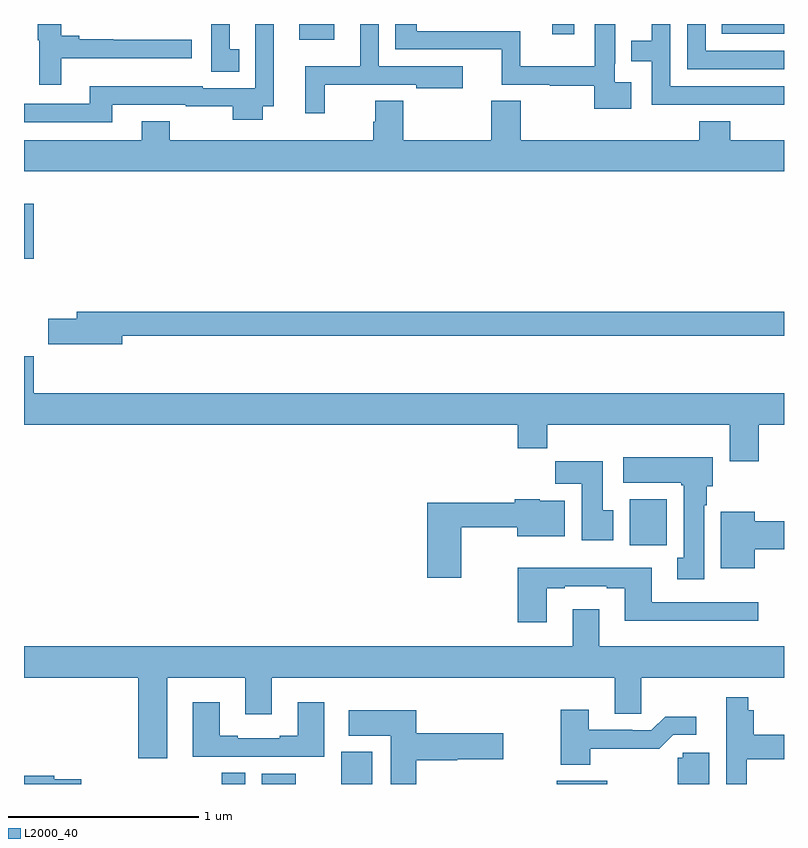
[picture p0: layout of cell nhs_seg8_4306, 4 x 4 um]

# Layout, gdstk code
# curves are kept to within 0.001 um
import gdstk
lib = gdstk.Library(unit=1e-6, precision=1e-09)
def R(c, l, rs):  # rectangles x0, y0, x1, y1
    for r in rs: c.add(gdstk.rectangle(r[:2], r[2:], *l))
def P(c, l, *ps):  # polygons
    for p in ps: c.add(gdstk.Polygon(p, *l))
L2000_40 = (2000, 40)

nhs_seg8_4306 = lib.new_cell('nhs_seg8_4306')
R(nhs_seg8_4306, L2000_40, [(374.042,1155.9,374.164,1155.959), (374.252,1155.9,374.431,1155.955), (374.669,1155.9,374.833,1156.069), (375.805,1155.9,376.07,1155.916), (376.187,1157.156,376.384,1157.398), (373,1158.665,373.052,1158.955), (374.448,1159.817,374.632,1159.9), (375.78,1159.845,375.895,1159.9), (376.672,1159.85,377,1159.9)])
P(nhs_seg8_4306, L2000_40, [(373.465,1159.476),(373.851,1159.476),(373.851,1159.466),(374.098,1159.466),(374.098,1159.397),(374.257,1159.397),(374.257,1159.467),(374.314,1159.467),(374.314,1159.9),(374.216,1159.9),(374.216,1159.846),(374.217,1159.846),(374.217,1159.563),(373.941,1159.563),(373.941,1159.573),(373.346,1159.573),(373.346,1159.479),(373,1159.479),(373,1159.383),(373.465,1159.383)],
  [(376.195,1159.594),(376.11,1159.594),(376.11,1159.69),(376.111,1159.69),(376.111,1159.9),(376.004,1159.9),(376.004,1159.678),(375.613,1159.678),(375.613,1159.863),(375.066,1159.863),(375.066,1159.9),(374.953,1159.9),(374.953,1159.767),(375.515,1159.767),(375.515,1159.581),(375.768,1159.581),(375.768,1159.576),(376.002,1159.576),(376.002,1159.454),(376.195,1159.454)],
  [(377,1159.758),(376.587,1159.758),(376.587,1159.9),(376.491,1159.9),(376.491,1159.662),(377,1159.662)],
  [(373.195,1159.721),(373.882,1159.721),(373.882,1159.818),(373.469,1159.818),(373.469,1159.821),(373.291,1159.821),(373.291,1159.838),(373.195,1159.838),(373.195,1159.9),(373.072,1159.9),(373.072,1159.815),(373.079,1159.815),(373.079,1159.581),(373.195,1159.581)],
  [(377,1159.572),(376.401,1159.572),(376.401,1159.9),(376.304,1159.9),(376.304,1159.813),(376.196,1159.813),(376.196,1159.704),(376.305,1159.704),(376.305,1159.476),(376.801,1159.476),(376.801,1159.475),(377,1159.475)],
  [(374.582,1159.581),(375.065,1159.581),(375.065,1159.562),(375.31,1159.562),(375.31,1159.677),(374.868,1159.677),(374.868,1159.9),(374.771,1159.9),(374.771,1159.678),(374.48,1159.678),(374.48,1159.431),(374.582,1159.431)],
  [(374.132,1159.767),(374.083,1159.767),(374.083,1159.9),(373.986,1159.9),(373.986,1159.648),(374.132,1159.648)],
  [(377,1159.288),(376.718,1159.288),(376.718,1159.387),(376.553,1159.387),(376.553,1159.288),(375.615,1159.288),(375.615,1159.496),(375.46,1159.496),(375.46,1159.288),(374.997,1159.288),(374.997,1159.496),(374.849,1159.496),(374.849,1159.386),(374.837,1159.386),(374.837,1159.288),(373.767,1159.288),(373.767,1159.387),(373.619,1159.387),(373.619,1159.288),(373,1159.288),(373,1159.124),(377,1159.124)],
  [(373.516,1158.258),(377,1158.258),(377,1158.386),(373.277,1158.386),(373.277,1158.35),(373.128,1158.35),(373.128,1158.215),(373.516,1158.215)],
  [(376.868,1157.792),(377,1157.792),(377,1157.956),(373.052,1157.956),(373.052,1158.151),(373,1158.151),(373,1157.792),(375.599,1157.792),(375.599,1157.668),(375.755,1157.668),(375.755,1157.792),(376.715,1157.792),(376.715,1157.598),(376.868,1157.598)],
  [(376.579,1157.366),(376.594,1157.366),(376.594,1157.466),(376.624,1157.466),(376.624,1157.62),(376.155,1157.62),(376.155,1157.486),(376.459,1157.486),(376.459,1157.473),(376.472,1157.473),(376.472,1157.09),(376.439,1157.09),(376.439,1156.977),(376.579,1156.977)],
  [(376.102,1157.34),(376.045,1157.34),(376.045,1157.599),(375.796,1157.599),(375.796,1157.48),(375.935,1157.48),(375.935,1157.184),(376.102,1157.184)],
  [(375.3,1157.251),(375.596,1157.251),(375.596,1157.204),(375.847,1157.204),(375.847,1157.392),(375.714,1157.392),(375.714,1157.398),(375.584,1157.398),(375.584,1157.38),(375.122,1157.38),(375.122,1156.986),(375.3,1156.986)],
  [(376.846,1157.135),(377,1157.135),(377,1157.282),(376.846,1157.282),(376.846,1157.332),(376.667,1157.332),(376.667,1157.036),(376.846,1157.036)],
  [(375.751,1156.929),(375.847,1156.929),(375.847,1156.941),(376.067,1156.941),(376.067,1156.929),(376.163,1156.929),(376.163,1156.76),(376.864,1156.76),(376.864,1156.857),(376.303,1156.857),(376.303,1157.038),(375.599,1157.038),(375.599,1156.752),(375.751,1156.752)],
  [(373.753,1156.46),(374.165,1156.46),(374.165,1156.266),(374.305,1156.266),(374.305,1156.46),(376.109,1156.46),(376.109,1156.27),(376.248,1156.27),(376.248,1156.46),(377,1156.46),(377,1156.624),(376.027,1156.624),(376.027,1156.819),(375.887,1156.819),(375.887,1156.624),(373,1156.624),(373,1156.46),(373.601,1156.46),(373.601,1156.035),(373.753,1156.035)],
  [(376.804,1156.03),(377,1156.03),(377,1156.159),(376.841,1156.159),(376.841,1156.288),(376.811,1156.288),(376.811,1156.357),(376.695,1156.357),(376.695,1155.9),(376.804,1155.9)],
  [(374.581,1156.33),(374.441,1156.33),(374.441,1156.153),(374.345,1156.153),(374.345,1156.14),(374.125,1156.14),(374.125,1156.153),(374.029,1156.153),(374.029,1156.33),(373.889,1156.33),(373.889,1156.044),(374.581,1156.044)],
  [(375.981,1156.086),(376.343,1156.085),(376.416,1156.158),(376.537,1156.158),(376.537,1156.255),(376.375,1156.255),(376.302,1156.182),(376.202,1156.182),(376.202,1156.185),(375.973,1156.185),(375.973,1156.291),(375.826,1156.291),(375.826,1156.001),(375.981,1156.001)],
  [(375.065,1156.025),(375.279,1156.025),(375.279,1156.03),(375.523,1156.03),(375.523,1156.167),(375.065,1156.167),(375.065,1156.288),(374.709,1156.288),(374.709,1156.154),(374.93,1156.154),(374.93,1155.9),(375.065,1155.9)],
  [(376.606,1156.065),(376.467,1156.065),(376.467,1156.038),(376.442,1156.038),(376.442,1155.9),(376.606,1155.9)],
  [(373.302,1155.924),(373.16,1155.924),(373.16,1155.944),(373,1155.944),(373,1155.9),(373.302,1155.9)])

lib.write_gds('nhs_seg8_4306.gds')
